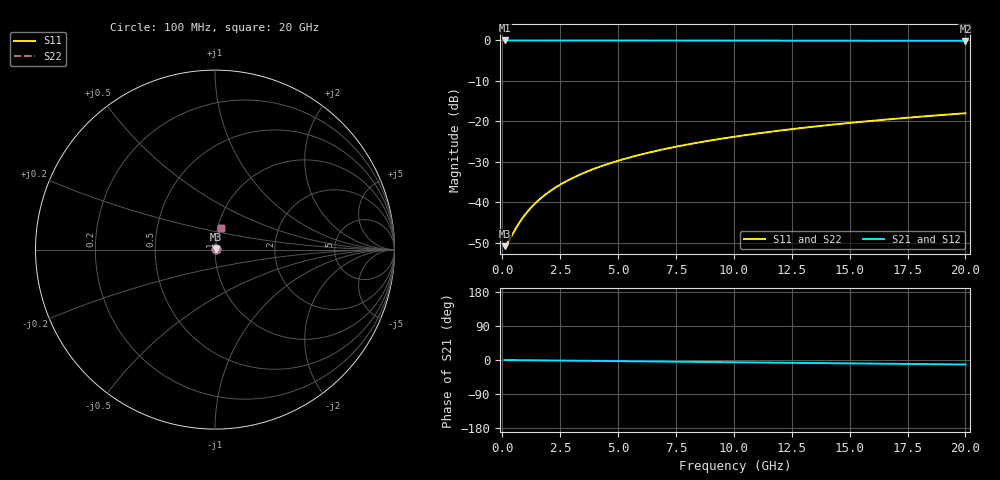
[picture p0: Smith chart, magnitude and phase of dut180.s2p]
! Touchstone file exported from HFSS 2026.1.0
!  File:  C:/ffzhzh/LocalFiles/Ansys_Project_Files/temp_train_TSV_180_1782991272_45328.aedt
!  Generated:  07:24:33 PM Jul  2, 2026
!  Design:  TSV
!  Project:  temp_train_TSV_180_1782991272_45328
! Variables:
!  h_bsmrdl = 2um
!  h_ox = 20um
!  h_rdl = 5um
!  h_sub = 98.76um
!  h_tmrdl = 5um
!  h_tsv = 98.76um
!  h_via = 3um
!  l_bsmrdl = 300um
!  l_sub = 404um
!  l_tmrdl = 200um
!  m_sub = 200um
!  pitch = 29.22um
!  r_tsv = 2um
!  s_tmrdl = 10um
!  w_bsmrdl = 18um
!  w_sub = 500um
!  w_tmrdl = 12um
!  x_tsv_center1 = 206um
!  x_tsv_center2 = 524um
!  x_tsv_center3 = 736um
!  x_tsv_center4 = 1054um
!  x_tsv_center5 = 1266um
!  x_tsv_center6 = 1584um
# GHz S MA R 50.000000
! Terminal data exported
! Port[1] = TSV1_1_T1
! Port[2] = TSV1_1_T2
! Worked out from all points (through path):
!   200 points, 100 MHz to 20 GHz, reference 50 ohm
!   highest |S21| = -0.02 dB at 100 MHz (marker M1); lowest = -0.1 dB at 20 GHz (marker M2)
!   group delay of S21, straight-line fit = 1.65 ps
!   lowest |S11| = -50.8 dB at 100 MHz (marker M3), VSWR 1.01, Z = 50.3 + j0.066 ohm
!   |S11| at or under -10 dB: start of sweep to end of sweep
!   |S22| runs from -50.8 to -18.0 dB; largest |S21 - S12| = 8.2e-15
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0.1  0.00288 13.2  0.9972 -0.1  0.9972 -0.1  0.00288 13.2
! Gamma 0 0 0 0
! Port Impedance 50 0 50 0
0.2  0.003101 25.0  0.9972 -0.1  0.9972 -0.1  0.003101 25.0
0.3  0.003437 34.9  0.9972 -0.2  0.9972 -0.2  0.003437 34.9
0.6  0.004854 54.0  0.9972 -0.4  0.9972 -0.4  0.004854 54.0
0.7  0.005402 57.9  0.9972 -0.4  0.9972 -0.4  0.005402 57.9
0.9  0.006553 63.7  0.9971 -0.5  0.9971 -0.5  0.006553 63.7
1.2  0.008361 69.2  0.9971 -0.7  0.9971 -0.7  0.008361 69.2
1.5  0.01022 72.7  0.9971 -0.9  0.9971 -0.9  0.01022 72.7
1.9  0.01274 75.6  0.997 -1.2  0.997 -1.2  0.01274 75.6
2.4  0.01592 77.9  0.9969 -1.5  0.9969 -1.5  0.01592 77.9
2.9  0.01913 79.3  0.9968 -1.8  0.9968 -1.8  0.01913 79.3
3.5  0.02298 80.3  0.9967 -2.1  0.9967 -2.1  0.02298 80.3
4.2  0.02749 81.0  0.9965 -2.5  0.9965 -2.5  0.02749 81.0
5  0.03264 81.4  0.9963 -3.0  0.9963 -3.0  0.03264 81.4
5.9  0.03842 81.5  0.996 -3.6  0.996 -3.6  0.03842 81.5
6.8  0.04419 81.5  0.9956 -4.1  0.9956 -4.1  0.04419 81.5
8.3  0.05376 81.1  0.9949 -5.0  0.9949 -5.0  0.05376 81.1
10.1  0.06517 80.5  0.9939 -6.1  0.9939 -6.1  0.06517 80.5
11.7  0.07522 79.8  0.993 -7.0  0.993 -7.0  0.07522 79.8
13.4  0.0858 78.9  0.9918 -8.0  0.9918 -8.0  0.0858 78.9
16.7  0.1061 77.3  0.9892 -10.0  0.9892 -10.0  0.1061 77.3
20  0.126 75.5  0.9863 -11.9  0.9863 -11.9  0.126 75.5
